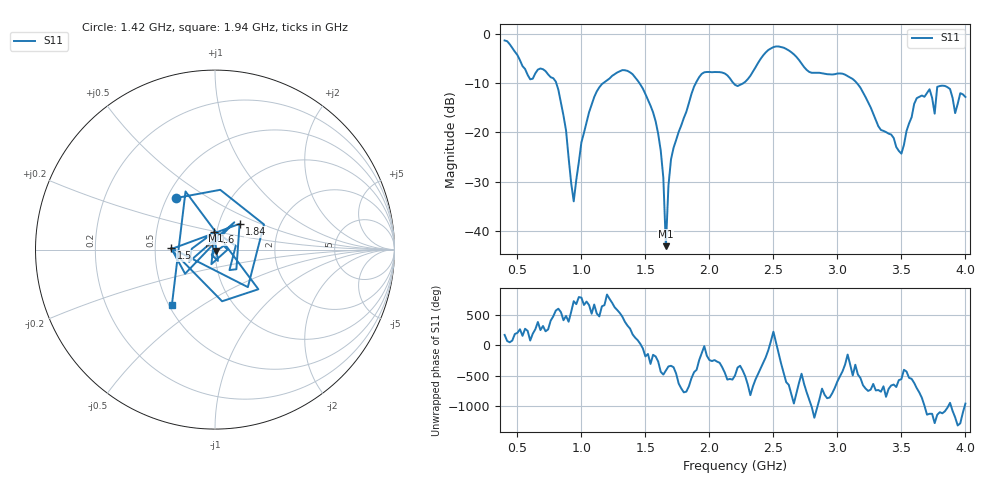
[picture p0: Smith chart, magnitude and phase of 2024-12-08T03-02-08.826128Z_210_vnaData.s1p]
!Created with skrf (http://scikit-rf.org).
# Hz S RI R 50.0
!freq ReS11 ImS11
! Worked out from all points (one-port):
!   181 points, 400 MHz to 4 GHz, reference 50 ohm
!   lowest |S11| = -43.1 dB at 1.66 GHz (marker M1), VSWR 1.01, Z = 50.4 - j0.573 ohm
!   |S11| at or under -10 dB: 803.5 MHz to 1.171 GHz (367.5 MHz wide, 37.2 % of centre); 1.453 GHz to 1.894 GHz (441.3 MHz wide, 26.4 % of centre); 3.152 GHz to end of sweep (the widest 3 of 4)
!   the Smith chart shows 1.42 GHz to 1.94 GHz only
!   S11 on the Smith chart (normalised r, x): 1.42 GHz: 0.55, +0.37; 1.5 GHz: 0.61, +0.01; 1.6 GHz: 0.97, +0.19; 1.84 GHz: 1.26, +0.38; 1.94 GHz: 0.52, -0.38
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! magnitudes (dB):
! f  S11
! 400 MHz  -1.4
! 600 MHz  -9.2
! 780 MHz  -9.0
! 860 MHz  -16.6
! 940 MHz  -34.0
! 1 GHz  -22.0
! 1.1 GHz  -12.8
! 1.3 GHz  -7.6
! 1.42 GHz  -8.9
! 1.5 GHz  -12.2
! 1.6 GHz  -20.3
! 1.64 GHz  -29.2
! 1.66 GHz  -43.1
! 1.7 GHz  -25.5
! 1.76 GHz  -19.9
! 1.84 GHz  -14.0
! 1.94 GHz  -8.1
! 2.2 GHz  -10.4
! 2.5 GHz  -2.7
! 2.66 GHz  -4.2
! 3.1 GHz  -8.9
! 3.5 GHz  -24.3
! 3.56 GHz  -18.2
! 3.72 GHz  -11.3
! 3.76 GHz  -16.2
! 3.78 GHz  -10.8
! 3.92 GHz  -16.1
! 4 GHz  -12.8
